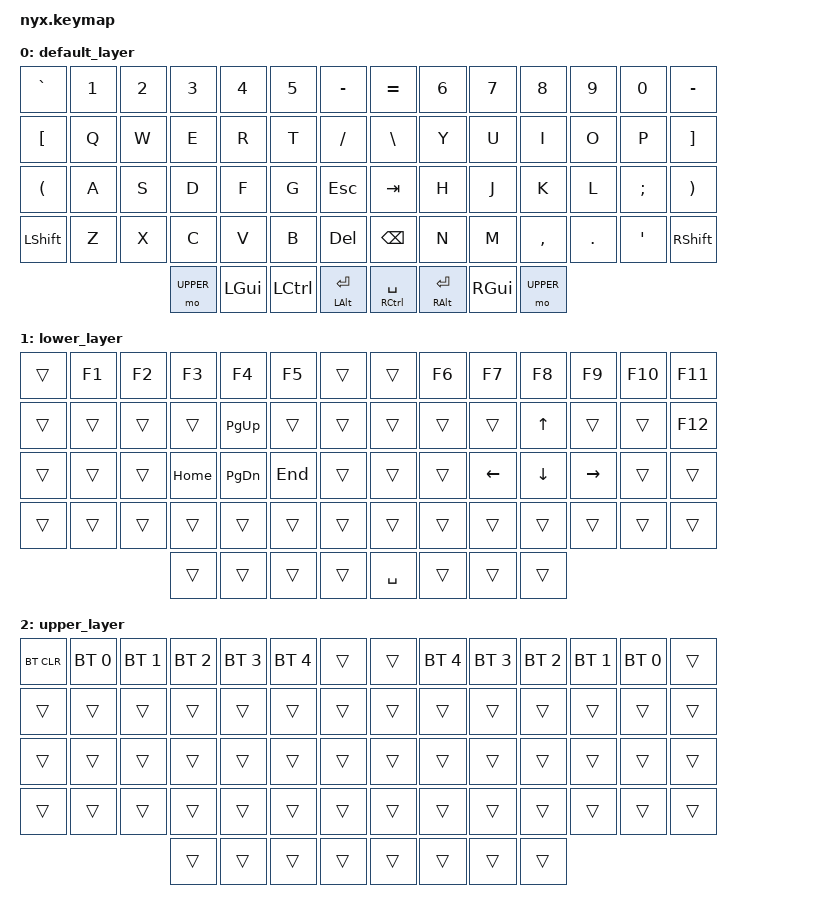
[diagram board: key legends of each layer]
/*
 * Copyright (c) 2020 Tad Fisher
 *
 * SPDX-License-Identifier: MIT
 */

#include <behaviors.dtsi>
#include <dt-bindings/zmk/keys.h>
#include <dt-bindings/zmk/bt.h>
#include <dt-bindings/zmk/outputs.h>

#define DEFAULT 0
#define LOWER   1
#define UPPER   2

/ {
    keymap {
        compatible = "zmk,keymap";

        default_layer {
            // | `      | 1 | 2 | 3  | 4    | 5    | -    | =    | 6   | 7    | 8    | 9  | 0 |        |
            // | [      | Q | W | E  | R    | T    | //   | \\   | Y   | U    | I    | O  | P | ]      |
            // | (      | A | S | D  | F    | G    | ESC  | TAB  | H   | J    | K    | L  | ; | )      |
            // | LSHIFT | Z | X | C  | V    | B    | DEL  | BSPC | N   | M    | ,    | .  | ' | RSHIFT |
            // |        |   |   | FN | LGUI | LCTL | LALT | SPC  | RET | RCTL | RALT |    |   |        |
            bindings = <
                &kp GRAVE &kp N1 &kp N2 &kp N3    &kp N4   &kp N5   &kp MINUS    &kp EQUAL     &kp N6       &kp N7   &kp N8    &kp N9  &kp N0   &kp MINUS
                &kp LBKT  &kp Q  &kp W  &kp E     &kp R    &kp T    &kp FSLH     &kp BSLH      &kp Y        &kp U    &kp I     &kp O   &kp P    &kp RBKT
                &kp LPAR  &kp A  &kp S  &kp D     &kp F    &kp G    &kp ESC      &kp TAB       &kp H        &kp J    &kp K     &kp L   &kp SEMI &kp RPAR
                &kp LSHFT &kp Z  &kp X  &kp C     &kp V    &kp B    &kp DEL      &kp BSPC      &kp N        &kp M    &kp COMMA &kp DOT &kp APOS &kp RSHFT
                                        &mo UPPER &kp LGUI &kp LCTL &mt LALT RET &mt RCTRL SPC &mt RALT RET &kp RGUI &mo UPPER
            >;
        };

        lower_layer {
            // |         | F1       | F2       | F3       | F4       | F5       |        |        | F6       | F7       | F8       | F9       | F10      | F11     |
            // |         |          |          |          |          |          |        |        |          |          |          |          |          | F12     |
            // |         |          |          |          |          |          |        |        |          |          |          |          |          |         |
            // |         |          |          |          |          |          |        |        |          |          |          |          |          |         |
            // |         |          |          |          |          |          |        |        |          |          |          |          |          |         |
            bindings = <
                &trans     &kp F1       &kp F2       &kp F3       &kp F4       &kp F5       &trans  &trans  &kp F6       &kp F7       &kp F8       &kp F9       &kp F10      &kp F11
                &trans     &trans       &trans       &trans       &kp PG_UP    &trans       &trans  &trans  &trans       &trans       &kp UP       &trans       &trans       &kp F12
                &trans     &trans       &trans       &kp HOME     &kp PG_DN    &kp END      &trans  &trans  &trans       &kp LEFT     &kp DOWN     &kp RIGHT    &trans       &trans
                &trans     &trans       &trans       &trans       &trans       &trans       &trans  &trans  &trans       &trans       &trans       &trans       &trans       &trans
                                                     &trans       &trans       &trans       &trans  &kp SPC &trans       &trans       &trans

            >;
        };

        upper_layer {
            // | BT_CLR  | BT_SEL 0 | BT_SEL 1 | BT_SEL 2 | BT_SEL 3 | BT_SEL 4 |        |        | BT_SEL 4 | BT_SEL 3 | BT_SEL 2 | BT_SEL 1 | BT_SEL 0 | BT_CLR  |
            // | OUT_USB | OUT_BLE  |          |          |          |          |        |        |          |          |          |          | OUT_BLE  | OUT_USB |
            // |         |          |          |          |          |          | BT_NXT | BT_NXT |          |          |          |          |          |         |
            // |         |          |          |          |          |          | BT_PRV | BT_PRV |          |          |          |          |          |         |
            // |         |          |          |          |          |          |        |        |          |          |          |          |          |         |
            bindings = <
                &bt BT_CLR &bt BT_SEL 0 &bt BT_SEL 1 &bt BT_SEL 2 &bt BT_SEL 3 &bt BT_SEL 4 &trans  &trans &bt BT_SEL 4 &bt BT_SEL 3 &bt BT_SEL 2 &bt BT_SEL 1 &bt BT_SEL 0 &trans
                &trans     &trans       &trans       &trans       &trans       &trans       &trans  &trans &trans       &trans       &trans       &trans       &trans       &trans
                &trans     &trans       &trans       &trans       &trans       &trans       &trans  &trans &trans       &trans       &trans       &trans       &trans       &trans
                &trans     &trans       &trans       &trans       &trans       &trans       &trans  &trans &trans       &trans       &trans       &trans       &trans       &trans
                                                     &trans       &trans       &trans       &trans  &trans &trans       &trans       &trans

            >;
        };
    };

    combos {
        compatible = "zmk,combos";
        combo_upperl {
            timeout-ms = <50>;
            key-positions = <56 57>;
            bindings = <&mo UPPER>;
        };
        combo_upperr {
            timeout-ms = <50>;
            key-positions = <62 63>;
            bindings = <&mo UPPER>;
        };
    };
};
